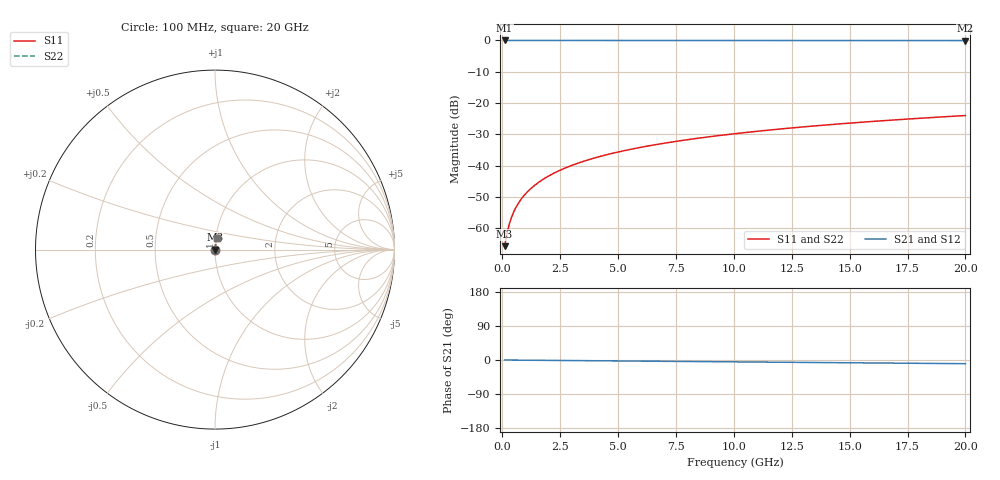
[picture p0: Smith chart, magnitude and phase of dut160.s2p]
! Touchstone file exported from HFSS 2026.1.0
!  File:  C:/ffzhzh/LocalFiles/Ansys_Project_Files/temp_train_TSV_160_1782990812_40604.aedt
!  Generated:  07:15:14 PM Jul  2, 2026
!  Design:  TSV
!  Project:  temp_train_TSV_160_1782990812_40604
! Variables:
!  h_bsmrdl = 2um
!  h_ox = 20um
!  h_rdl = 5um
!  h_sub = 91.73um
!  h_tmrdl = 5um
!  h_tsv = 91.73um
!  h_via = 3um
!  l_bsmrdl = 300um
!  l_sub = 411.2um
!  l_tmrdl = 200um
!  m_sub = 200um
!  pitch = 39.77um
!  r_tsv = 5.6um
!  s_tmrdl = 10um
!  w_bsmrdl = 18um
!  w_sub = 500um
!  w_tmrdl = 12um
!  x_tsv_center1 = 206um
!  x_tsv_center2 = 524um
!  x_tsv_center3 = 736um
!  x_tsv_center4 = 1054um
!  x_tsv_center5 = 1266um
!  x_tsv_center6 = 1584um
# GHz S MA R 50.000000
! Terminal data exported
! Port[1] = TSV1_1_T1
! Port[2] = TSV1_1_T2
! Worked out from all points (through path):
!   200 points, 100 MHz to 20 GHz, reference 50 ohm
!   highest |S21| = 0.00 dB at 100 MHz (marker M1); lowest = 0.0 dB at 20 GHz (marker M2)
!   group delay of S21, straight-line fit = 1.35 ps
!   lowest |S11| = -65.7 dB at 100 MHz (marker M3), VSWR 1.00, Z = 50 + j0.0366 ohm
!   |S11| at or under -10 dB: start of sweep to end of sweep
!   |S22| runs from -65.7 to -24.0 dB; largest |S21 - S12| = 3.3e-15
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0.1  0.0005187 44.9  0.9996 -0.1  0.9996 -0.1  0.0005187 44.9
! Gamma 0 0 0 0
! Port Impedance 50 0 50 0
0.2  0.0008222 62.6  0.9996 -0.1  0.9996 -0.1  0.0008222 62.6
0.3  0.00116 70.0  0.9996 -0.2  0.9996 -0.2  0.00116 70.0
0.4  0.001505 73.9  0.9996 -0.2  0.9996 -0.2  0.001505 73.9
0.5  0.00185 76.2  0.9996 -0.3  0.9996 -0.3  0.00185 76.2
0.7  0.002533 78.7  0.9995 -0.4  0.9995 -0.4  0.002533 78.7
0.8  0.002871 79.6  0.9995 -0.4  0.9995 -0.4  0.002871 79.6
1  0.003541 80.7  0.9994 -0.5  0.9994 -0.5  0.003541 80.7
1.2  0.004206 81.5  0.9994 -0.6  0.9994 -0.6  0.004206 81.5
1.4  0.004867 82.1  0.9994 -0.7  0.9994 -0.7  0.004867 82.1
1.7  0.005856 82.7  0.9993 -0.9  0.9993 -0.9  0.005856 82.7
2  0.006841 83.1  0.9993 -1.0  0.9993 -1.0  0.006841 83.1
2.7  0.00913 83.6  0.9991 -1.3  0.9991 -1.3  0.00913 83.6
3.5  0.01173 83.8  0.999 -1.7  0.999 -1.7  0.01173 83.8
4.2  0.01398 83.8  0.9989 -2.1  0.9989 -2.1  0.01398 83.8
5  0.01654 83.7  0.9988 -2.5  0.9988 -2.5  0.01654 83.7
6.8  0.02224 83.3  0.9984 -3.3  0.9984 -3.3  0.02224 83.3
8.3  0.02696 82.8  0.9982 -4.1  0.9982 -4.1  0.02696 82.8
10.1  0.03261 82.3  0.9979 -5.0  0.9979 -5.0  0.03261 82.3
13.4  0.04289 81.0  0.9973 -6.6  0.9973 -6.6  0.04289 81.0
16.7  0.0531 79.7  0.9966 -8.1  0.9966 -8.1  0.0531 79.7
20  0.0632 78.2  0.9958 -9.7  0.9958 -9.7  0.0632 78.2
